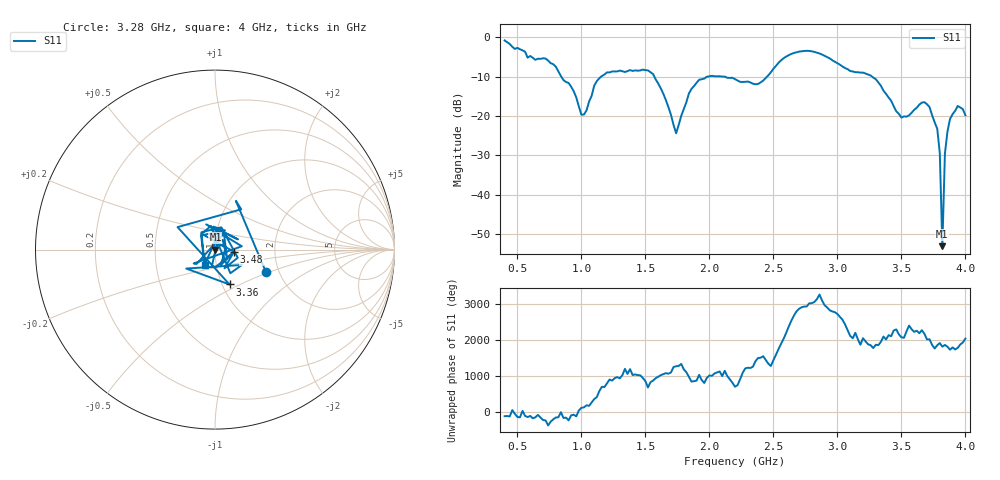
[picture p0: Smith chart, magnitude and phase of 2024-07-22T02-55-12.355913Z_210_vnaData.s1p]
!Created with skrf (http://scikit-rf.org).
# Hz S RI R 50.0
!freq ReS11 ImS11
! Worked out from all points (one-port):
!   181 points, 400 MHz to 4 GHz, reference 50 ohm
!   lowest |S11| = -53.0 dB at 3.82 GHz (marker M1), VSWR 1.00, Z = 50.2 + j0.0543 ohm
!   |S11| at or under -10 dB: 1.57 GHz to 1.979 GHz (409.2 MHz wide, 23.1 % of centre); 2.123 GHz to 2.449 GHz (326.1 MHz wide, 14.3 % of centre); 3.273 GHz to end of sweep (the widest 3 of 4)
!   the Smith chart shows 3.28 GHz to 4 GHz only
!   S11 on the Smith chart (normalised r, x): 3.28 GHz: 1.71, -0.47; 3.36 GHz: 1.08, -0.44; 3.48 GHz: 1.24, -0.03; 4 GHz: 0.88, -0.15
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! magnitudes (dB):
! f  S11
! 400 MHz  -0.8
! 720 MHz  -5.4
! 860 MHz  -10.8
! 1.02 GHz  -19.6
! 1.12 GHz  -11.1
! 1.3 GHz  -8.4
! 1.56 GHz  -9.3
! 1.74 GHz  -24.3
! 1.76 GHz  -22.3
! 1.84 GHz  -14.2
! 1.92 GHz  -10.8
! 2.2 GHz  -10.6
! 2.38 GHz  -11.8
! 2.66 GHz  -3.9
! 2.84 GHz  -3.9
! 3.1 GHz  -8.5
! 3.28 GHz  -10.2
! 3.36 GHz  -13.5
! 3.48 GHz  -19.4
! 3.56 GHz  -19.8
! 3.68 GHz  -16.4
! 3.78 GHz  -23.2
! 3.8 GHz  -29.4
! 3.82 GHz  -53.0
! 3.84 GHz  -29.5
! 3.86 GHz  -23.9
! 3.94 GHz  -17.4
! 4 GHz  -19.8
